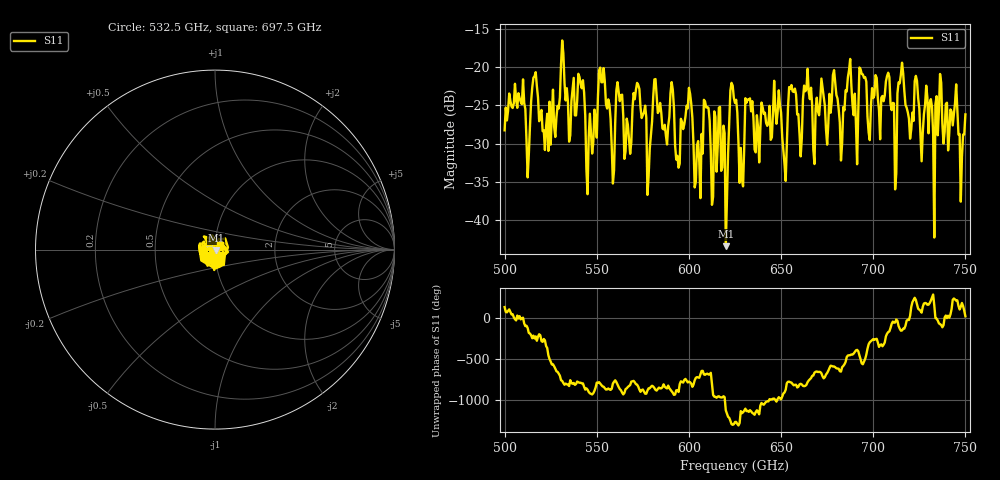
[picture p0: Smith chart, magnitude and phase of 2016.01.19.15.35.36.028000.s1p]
!Created with skrf (http://scikit-rf.org).
# GHz S RI R 50.0
!freq ReS11 ImS11
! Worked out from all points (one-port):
!   401 points, 500 GHz to 750 GHz, reference 50 ohm
!   lowest |S11| = -43.5 dB at 620 GHz (marker M1), VSWR 1.01, Z = 50.5 - j0.44 ohm
!   |S11| at or under -10 dB: start of sweep to end of sweep
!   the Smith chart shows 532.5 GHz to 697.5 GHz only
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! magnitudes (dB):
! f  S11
! 500 GHz  -28.3
! 513.1 GHz  -31.5
! 516.2 GHz  -21.2
! 522.5 GHz  -27.8
! 531.2 GHz  -16.5
! 534.4 GHz  -24.6
! 541.2 GHz  -22.2
! 545.6 GHz  -29.2
! 552.5 GHz  -21.9
! 558.8 GHz  -35.3
! 562.5 GHz  -24.4
! 578.8 GHz  -30.7
! 581.2 GHz  -21.6
! 590.6 GHz  -21.9
! 593.8 GHz  -31.6
! 600 GHz  -22.7
! 604.4 GHz  -30.2
! 609.4 GHz  -25.3
! 620 GHz  -43.5
! 625 GHz  -24.7
! 628.8 GHz  -34.7
! 631.9 GHz  -24.2
! 651.9 GHz  -32.7
! 656.2 GHz  -23.1
! 683.1 GHz  -30.0
! 687.5 GHz  -18.9
! 718.8 GHz  -25.9
! 750 GHz  -26.2
